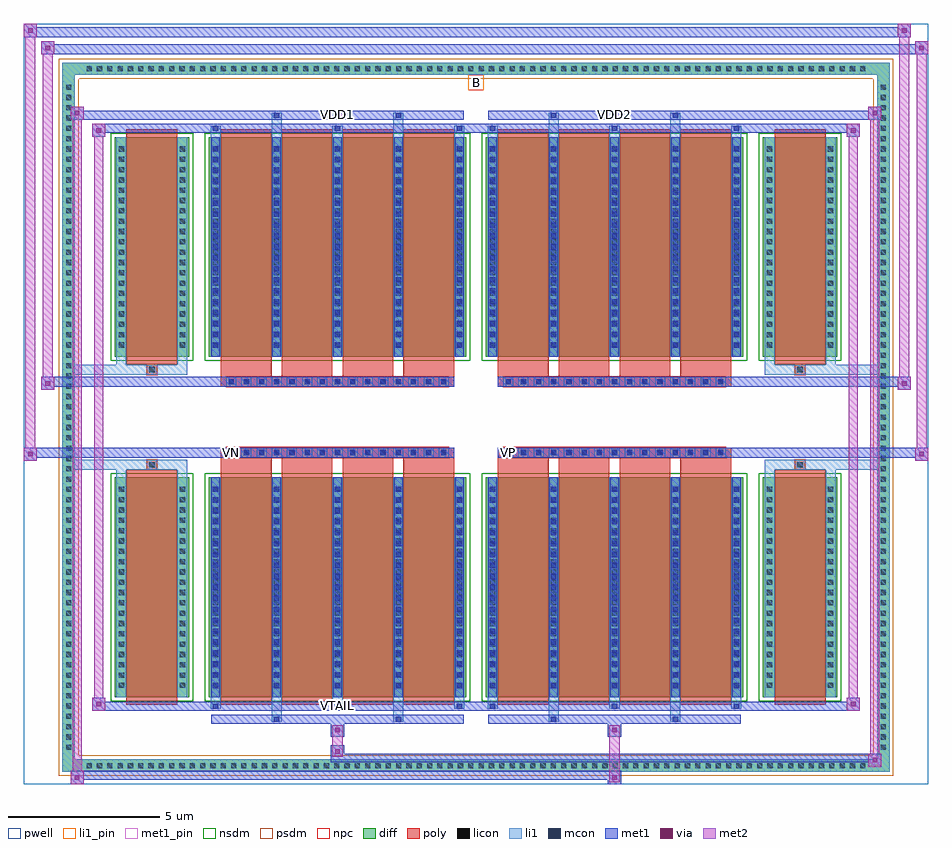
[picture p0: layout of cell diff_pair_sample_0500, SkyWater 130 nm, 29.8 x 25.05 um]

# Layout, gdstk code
import gdstk
lib = gdstk.Library(unit=1e-6, precision=5e-09)
def R(c, l, rs):  # rectangles x0, y0, x1, y1
    for r in rs: c.add(gdstk.rectangle(r[:2], r[2:], *l))
def A(c, l, x, y, w, h, nx, ny, dx, dy):  # array of equal rectangles
    R(c, l, [(x+i*dx, y+j*dy, x+i*dx+w, y+j*dy+h) for i in range(nx) for j in range(ny)])
def P(c, l, *ps):  # polygons
    for p in ps: c.add(gdstk.Polygon(p, *l))
pwell = (64, 44)
diff = (65, 20)
poly = (66, 20)
licon = (66, 44)
li1_pin = (67, 16)
li1 = (67, 20)
mcon = (67, 44)
met1_pin = (68, 16)
met1 = (68, 20)
via = (68, 44)
met2 = (69, 20)
nsdm = (93, 44)
psdm = (94, 20)
npc = (95, 20)

diff_pair_sample_0500 = lib.new_cell('diff_pair_sample_0500')
R(diff_pair_sample_0500, pwell, [(-14.9,-12.09,14.9,12.96), (-12.22,-10.28,-0.01,-0.8), (0.01,-10.28,12.22,-0.8), (-12.22,0.8,-0.01,10.28), (0.01,0.8,12.22,10.28)])
A(diff_pair_sample_0500, diff, -12.955, -11.69, 0.41, 0.41, 76, 2, 0.34, 22.97)
A(diff_pair_sample_0500, diff, -13.63, -11.085, 0.41, 0.41, 1, 65, 0, 0.34)
A(diff_pair_sample_0500, diff, 13.22, -11.085, 0.41, 0.41, 1, 65, 0, 0.34)
R(diff_pair_sample_0500, diff, [(-12.955,-11.69,12.955,-11.28), (-13.63,-11.085,-13.22,11.085), (13.22,-11.085,13.63,11.085), (-11.91,-9.235,-9.45,-1.985), (-8.81,-9.235,-0.32,-1.985), (0.32,-9.235,8.81,-1.985), (9.45,-9.235,11.91,-1.985), (-11.91,1.985,-9.45,9.235), (-8.81,1.985,-0.32,9.235), (0.32,1.985,8.81,9.235), (9.45,1.985,11.91,9.235), (-12.955,11.28,12.955,11.69)])
P(diff_pair_sample_0500, diff, [(13.63,11.69),(-13.63,11.69),(-13.63,-11.28),(-13.22,-11.28),(-13.22,11.28),(13.22,11.28),(13.22,-11.28),(-13.22,-11.28),(-13.63,-11.28),(-13.63,-11.69),(13.63,-11.69)])
A(diff_pair_sample_0500, poly, -8.42, -9.485, 1.68, 7.75, 4, 2, 2.01, 11.22)
A(diff_pair_sample_0500, poly, 0.71, -9.485, 1.68, 7.75, 4, 2, 2.01, 11.22)
A(diff_pair_sample_0500, poly, -8.42, -1.735, 1.68, 0.405, 4, 2, 2.01, 3.065)
A(diff_pair_sample_0500, poly, 0.71, -1.735, 1.68, 0.405, 4, 2, 2.01, 3.065)
A(diff_pair_sample_0500, poly, -8.23, -1.33, 0.33, 0.33, 15, 2, 0.5, 2.33)
A(diff_pair_sample_0500, poly, 0.9, -1.33, 0.33, 0.33, 15, 2, 0.5, 2.33)
R(diff_pair_sample_0500, poly, [(-11.52,-9.485,-9.84,-1.735), (9.84,-9.485,11.52,-1.735), (-10.845,-1.735,-10.515,-1.405), (-10.845,-1.735,-10.515,-1.405), (10.515,-1.735,10.845,-1.405), (10.515,-1.735,10.845,-1.405), (-8.42,-1.33,-0.71,-1), (0.71,-1.33,8.42,-1), (-8.42,1,-0.71,1.33), (0.71,1,8.42,1.33), (-10.845,1.405,-10.515,1.735), (-10.845,1.405,-10.515,1.735), (10.515,1.405,10.845,1.735), (10.515,1.405,10.845,1.735), (-11.52,1.735,-9.84,9.485), (9.84,1.735,11.52,9.485)])
A(diff_pair_sample_0500, licon, -12.835, -11.57, 0.17, 0.17, 76, 2, 0.34, 22.97)
A(diff_pair_sample_0500, licon, -13.51, -10.965, 0.17, 0.17, 1, 65, 0, 0.34)
A(diff_pair_sample_0500, licon, 13.34, -10.965, 0.17, 0.17, 1, 65, 0, 0.34)
A(diff_pair_sample_0500, licon, -11.77, -8.925, 0.17, 0.17, 1, 20, 0, 0.34)
A(diff_pair_sample_0500, licon, -9.76, -8.925, 0.17, 0.17, 1, 20, 0, 0.34)
A(diff_pair_sample_0500, licon, -8.67, -8.925, 0.17, 0.17, 5, 20, 2.01, 0.34)
A(diff_pair_sample_0500, licon, 0.46, -8.925, 0.17, 0.17, 5, 20, 2.01, 0.34)
A(diff_pair_sample_0500, licon, 9.59, -8.925, 0.17, 0.17, 1, 20, 0, 0.34)
A(diff_pair_sample_0500, licon, 11.6, -8.925, 0.17, 0.17, 1, 20, 0, 0.34)
A(diff_pair_sample_0500, licon, -8.15, -1.25, 0.17, 0.17, 15, 2, 0.5, 2.33)
A(diff_pair_sample_0500, licon, 0.98, -1.25, 0.17, 0.17, 15, 2, 0.5, 2.33)
A(diff_pair_sample_0500, licon, -11.77, 2.295, 0.17, 0.17, 1, 20, 0, 0.34)
A(diff_pair_sample_0500, licon, -9.76, 2.295, 0.17, 0.17, 1, 20, 0, 0.34)
A(diff_pair_sample_0500, licon, -8.67, 2.295, 0.17, 0.17, 5, 20, 2.01, 0.34)
A(diff_pair_sample_0500, licon, 0.46, 2.295, 0.17, 0.17, 5, 20, 2.01, 0.34)
A(diff_pair_sample_0500, licon, 9.59, 2.295, 0.17, 0.17, 1, 20, 0, 0.34)
A(diff_pair_sample_0500, licon, 11.6, 2.295, 0.17, 0.17, 1, 20, 0, 0.34)
R(diff_pair_sample_0500, licon, [(-10.765,-1.655,-10.595,-1.485), (10.595,-1.655,10.765,-1.485), (-10.765,1.485,-10.595,1.655), (10.595,1.485,10.765,1.655)])
R(diff_pair_sample_0500, li1_pin, [(-0.25,10.78,0.25,11.28)])
A(diff_pair_sample_0500, li1, -12.915, -11.65, 0.33, 0.33, 76, 2, 0.34, 22.97)
A(diff_pair_sample_0500, li1, -13.59, -11.045, 0.33, 0.33, 1, 65, 0, 0.34)
A(diff_pair_sample_0500, li1, 13.26, -11.045, 0.33, 0.33, 1, 65, 0, 0.34)
A(diff_pair_sample_0500, li1, -8.75, -9.61, 0.33, 0.375, 3, 2, 4.02, 18.845)
A(diff_pair_sample_0500, li1, -8.67, -9.61, 0.17, 0.17, 3, 2, 4.02, 19.05)
A(diff_pair_sample_0500, li1, 0.38, -9.61, 0.33, 0.375, 3, 2, 4.02, 18.845)
A(diff_pair_sample_0500, li1, 0.46, -9.61, 0.17, 0.17, 3, 2, 4.02, 19.05)
A(diff_pair_sample_0500, li1, -8.75, -9.235, 0.33, 7.25, 5, 2, 2.01, 11.22)
A(diff_pair_sample_0500, li1, 0.38, -9.235, 0.33, 7.25, 5, 2, 2.01, 11.22)
A(diff_pair_sample_0500, li1, -11.85, -9.005, 0.33, 0.33, 1, 20, 0, 0.34)
A(diff_pair_sample_0500, li1, -9.84, -9.005, 0.33, 0.33, 1, 20, 0, 0.34)
A(diff_pair_sample_0500, li1, -8.75, -9.005, 0.33, 0.33, 5, 20, 2.01, 0.34)
A(diff_pair_sample_0500, li1, 0.38, -9.005, 0.33, 0.33, 5, 20, 2.01, 0.34)
A(diff_pair_sample_0500, li1, 9.51, -9.005, 0.33, 0.33, 1, 20, 0, 0.34)
A(diff_pair_sample_0500, li1, 11.52, -9.005, 0.33, 0.33, 1, 20, 0, 0.34)
A(diff_pair_sample_0500, li1, -8.67, -8.935, 0.17, 0.17, 5, 19, 2.01, 0.36)
A(diff_pair_sample_0500, li1, -8.67, -8.935, 0.17, 6.65, 5, 2, 2.01, 11.22)
A(diff_pair_sample_0500, li1, 0.46, -8.935, 0.17, 0.17, 5, 19, 2.01, 0.36)
A(diff_pair_sample_0500, li1, 0.46, -8.935, 0.17, 6.65, 5, 2, 2.01, 11.22)
A(diff_pair_sample_0500, li1, -8.23, -1.33, 0.33, 0.33, 15, 2, 0.5, 2.33)
A(diff_pair_sample_0500, li1, 0.9, -1.33, 0.33, 0.33, 15, 2, 0.5, 2.33)
A(diff_pair_sample_0500, li1, -11.85, 2.215, 0.33, 0.33, 1, 20, 0, 0.34)
A(diff_pair_sample_0500, li1, -9.84, 2.215, 0.33, 0.33, 1, 20, 0, 0.34)
A(diff_pair_sample_0500, li1, -8.75, 2.215, 0.33, 0.33, 5, 20, 2.01, 0.34)
A(diff_pair_sample_0500, li1, 0.38, 2.215, 0.33, 0.33, 5, 20, 2.01, 0.34)
A(diff_pair_sample_0500, li1, 9.51, 2.215, 0.33, 0.33, 1, 20, 0, 0.34)
A(diff_pair_sample_0500, li1, 11.52, 2.215, 0.33, 0.33, 1, 20, 0, 0.34)
A(diff_pair_sample_0500, li1, -8.67, 2.285, 0.17, 0.17, 5, 19, 2.01, 0.36)
A(diff_pair_sample_0500, li1, 0.46, 2.285, 0.17, 0.17, 5, 19, 2.01, 0.36)
R(diff_pair_sample_0500, li1, [(-13.63,-11.69,-13.22,-11.28), (-13.63,-11.69,-13.22,-11.28), (-13.22,-11.69,13.22,-11.28), (13.22,-11.69,13.63,-11.28), (13.22,-11.69,13.63,-11.28), (-13.63,-11.28,-13.22,11.28), (13.22,-11.28,13.63,11.28), (-6.74,-10.04,-6.41,-9.235), (-6.66,-10.04,-6.49,-9.87), (-2.72,-10.04,-2.39,-9.235), (-2.64,-10.04,-2.47,-9.87), (2.39,-10.04,2.72,-9.235), (2.47,-10.04,2.64,-9.87), (6.41,-10.04,6.74,-9.235), (6.49,-10.04,6.66,-9.87), (-11.85,-9.235,-11.52,-1.985), (-9.84,-9.235,-9.51,-1.985), (9.51,-9.235,9.84,-1.985), (11.52,-9.235,11.85,-1.985), (-11.85,-1.985,-11.52,-1.405), (-9.84,-1.985,-9.51,-1.405), (9.51,-1.985,9.84,-1.405), (11.52,-1.985,11.85,-1.405), (-13.63,-1.735,-10.845,-1.405), (-11.85,-1.735,-10.845,-1.405), (-10.845,-1.735,-10.515,-1.405), (-10.515,-1.735,-9.51,-1.405), (9.51,-1.735,10.515,-1.405), (10.515,-1.735,10.845,-1.405), (10.515,-1.735,13.63,-1.405), (10.845,-1.735,11.85,-1.405), (-13.63,1.405,-10.845,1.735), (-11.85,1.405,-10.845,1.735), (-11.85,1.405,-11.52,1.985), (-10.845,1.405,-10.515,1.735), (-10.515,1.405,-9.51,1.735), (-9.84,1.405,-9.51,1.985), (9.51,1.405,10.515,1.735), (9.51,1.405,9.84,1.985), (10.515,1.405,10.845,1.735), (10.515,1.405,13.63,1.735), (10.845,1.405,11.85,1.735), (11.52,1.405,11.85,1.985), (-11.85,1.985,-11.52,9.235), (-9.84,1.985,-9.51,9.235), (9.51,1.985,9.84,9.235), (11.52,1.985,11.85,9.235), (-6.74,9.235,-6.41,10.04), (-2.72,9.235,-2.39,10.04), (2.39,9.235,2.72,10.04), (6.41,9.235,6.74,10.04), (-6.66,9.87,-6.49,10.04), (-2.64,9.87,-2.47,10.04), (2.47,9.87,2.64,10.04), (6.49,9.87,6.66,10.04), (-13.63,11.28,-13.22,11.69), (-13.63,11.28,-13.22,11.69), (-13.22,11.28,13.22,11.69), (13.22,11.28,13.63,11.69), (13.22,11.28,13.63,11.69)])
A(diff_pair_sample_0500, mcon, -8.67, -9.61, 0.17, 0.17, 3, 2, 4.02, 19.05)
A(diff_pair_sample_0500, mcon, 0.46, -9.61, 0.17, 0.17, 3, 2, 4.02, 19.05)
A(diff_pair_sample_0500, mcon, -8.67, -8.935, 0.17, 0.17, 5, 19, 2.01, 0.36)
A(diff_pair_sample_0500, mcon, 0.46, -8.935, 0.17, 0.17, 5, 19, 2.01, 0.36)
A(diff_pair_sample_0500, mcon, -8.15, -1.25, 0.17, 0.17, 15, 2, 0.5, 2.33)
A(diff_pair_sample_0500, mcon, 0.98, -1.25, 0.17, 0.17, 15, 2, 0.5, 2.33)
A(diff_pair_sample_0500, mcon, -8.67, 2.285, 0.17, 0.17, 5, 19, 2.01, 0.36)
A(diff_pair_sample_0500, mcon, 0.46, 2.285, 0.17, 0.17, 5, 19, 2.01, 0.36)
R(diff_pair_sample_0500, mcon, [(-6.66,-10.04,-6.49,-9.87), (-2.64,-10.04,-2.47,-9.87), (2.47,-10.04,2.64,-9.87), (6.49,-10.04,6.66,-9.87), (-6.66,9.87,-6.49,10.04), (-2.64,9.87,-2.47,10.04), (2.47,9.87,2.64,10.04), (6.49,9.87,6.66,10.04)])
R(diff_pair_sample_0500, met1_pin, [(-4.7,-9.65,-4.43,-9.38), (-8.2,-1.29,-7.93,-1.02), (0.93,-1.29,1.2,-1.02), (-4.7,9.83,-4.43,10.1), (4.43,9.83,4.7,10.1)])
A(diff_pair_sample_0500, met1, -8.73, -9.67, 0.29, 0.29, 3, 2, 4.02, 19.05)
A(diff_pair_sample_0500, met1, 0.4, -9.67, 0.29, 0.29, 3, 2, 4.02, 19.05)
A(diff_pair_sample_0500, met1, -8.73, -9.235, 0.29, 7.25, 5, 2, 2.01, 11.22)
A(diff_pair_sample_0500, met1, 0.4, -9.235, 0.29, 7.25, 5, 2, 2.01, 11.22)
A(diff_pair_sample_0500, met1, -8.73, -8.995, 0.29, 0.29, 5, 19, 2.01, 0.36)
A(diff_pair_sample_0500, met1, 0.4, -8.995, 0.29, 0.29, 5, 19, 2.01, 0.36)
A(diff_pair_sample_0500, met1, -8.21, -1.31, 0.29, 0.29, 15, 2, 0.5, 2.33)
A(diff_pair_sample_0500, met1, 0.92, -1.31, 0.29, 0.29, 15, 2, 0.5, 2.33)
A(diff_pair_sample_0500, met1, -8.73, 2.225, 0.29, 0.29, 5, 19, 2.01, 0.36)
A(diff_pair_sample_0500, met1, 0.4, 2.225, 0.29, 0.29, 5, 19, 2.01, 0.36)
R(diff_pair_sample_0500, met1, [(-13.36,-12.09,-12.93,-11.66), (4.35,-12.09,4.78,-11.66), (-13.36,-11.95,4.78,-11.66), (12.93,-11.52,13.36,-11.09), (-4.78,-11.38,13.36,-11.09), (-4.78,-11.24,-4.35,-10.81), (-4.78,-10.53,-4.35,-10.1), (4.35,-10.53,4.78,-10.1), (-8.73,-10.1,-0.4,-9.81), (-6.72,-10.1,-6.43,-9.81), (-2.7,-10.1,-2.41,-9.81), (0.4,-10.1,8.73,-9.81), (2.41,-10.1,2.7,-9.81), (6.43,-10.1,6.72,-9.81), (-12.65,-9.67,-12.22,-9.24), (-12.65,-9.67,-8.73,-9.38), (-8.73,-9.67,-0.4,-9.38), (-0.4,-9.67,0.4,-9.38), (0.4,-9.67,8.73,-9.38), (8.73,-9.67,12.65,-9.38), (12.22,-9.67,12.65,-9.24), (-14.9,-1.43,-14.47,-1), (14.47,-1.43,14.9,-1), (-14.9,-1.33,-0.71,-1), (-8.42,-1.33,-0.71,-1), (0.71,-1.33,8.42,-1), (0.71,-1.33,14.9,-1), (-14.33,0.9,-13.9,1.33), (13.9,0.9,14.33,1.33), (-14.33,1,-8.42,1.33), (-8.42,1,-0.71,1.33), (0.71,1,8.42,1.33), (8.42,1,14.33,1.33), (-12.65,9.24,-12.22,9.67), (12.22,9.24,12.65,9.67), (-12.65,9.38,-8.73,9.67), (-8.73,9.38,-0.4,9.67), (-0.4,9.38,0.4,9.67), (0.4,9.38,8.73,9.67), (8.73,9.38,12.65,9.67), (-13.36,9.81,-12.93,10.24), (-13.36,9.81,-8.73,10.1), (-8.73,9.81,-0.4,10.1), (-6.72,9.81,-6.43,10.1), (-2.7,9.81,-2.41,10.1), (0.4,9.81,8.73,10.1), (2.41,9.81,2.7,10.1), (6.43,9.81,6.72,10.1), (8.73,9.81,13.36,10.1), (12.93,9.81,13.36,10.24), (-14.33,11.96,-13.9,12.39), (-14.33,11.96,-12.22,12.29), (-12.22,11.96,12.22,12.29), (12.22,11.96,14.9,12.29), (14.47,11.96,14.9,12.39), (-14.9,12.53,-14.47,12.96), (-14.9,12.53,-12.22,12.86), (-12.22,12.53,12.22,12.86), (12.22,12.53,14.33,12.86), (13.9,12.53,14.33,12.96)])
R(diff_pair_sample_0500, via, [(-13.22,-11.95,-13.07,-11.8), (4.49,-11.95,4.64,-11.8), (13.07,-11.38,13.22,-11.23), (-4.64,-11.1,-4.49,-10.95), (-4.64,-10.39,-4.49,-10.24), (4.49,-10.39,4.64,-10.24), (-12.51,-9.53,-12.36,-9.38), (12.36,-9.53,12.51,-9.38), (-14.76,-1.29,-14.61,-1.14), (14.61,-1.29,14.76,-1.14), (-14.19,1.04,-14.04,1.19), (14.04,1.04,14.19,1.19), (-12.51,9.38,-12.36,9.53), (12.36,9.38,12.51,9.53), (-13.22,9.95,-13.07,10.1), (13.07,9.95,13.22,10.1), (-14.19,12.1,-14.04,12.25), (14.61,12.1,14.76,12.25), (-14.76,12.67,-14.61,12.82), (14.04,12.67,14.19,12.82)])
R(diff_pair_sample_0500, met2, [(-13.36,-12.09,-12.93,-11.66), (-13.29,-12.09,-13,10.24), (-13,-12.09,-12.93,-11.66), (-13.31,-12.04,-12.98,-11.71), (4.4,-12.04,4.73,-11.71), (4.4,-11.71,4.73,-10.48), (12.93,-11.52,13.36,-11.09), (13,-11.52,13.29,10.24), (13.29,-11.52,13.36,-11.09), (12.98,-11.47,13.31,-11.14), (-4.73,-11.19,-4.4,-10.86), (-4.73,-10.86,-4.4,-10.48), (-4.73,-10.48,-4.4,-10.15), (4.4,-10.48,4.73,-10.15), (-12.65,-9.67,-12.22,-9.24), (-12.58,-9.67,-12.29,9.67), (-12.29,-9.67,-12.22,-9.24), (12.22,-9.67,12.65,-9.24), (12.29,-9.67,12.58,9.67), (12.58,-9.67,12.65,-9.24), (-12.6,-9.62,-12.27,-9.29), (12.27,-9.62,12.6,-9.29), (-14.9,-1.43,-14.47,-1), (-14.85,-1.43,-14.52,12.96), (-14.52,-1.43,-14.47,-1), (14.47,-1.43,14.9,-1), (14.52,-1.43,14.85,12.39), (14.85,-1.43,14.9,-1), (-14.85,-1.38,-14.52,-1.05), (14.52,-1.38,14.85,-1.05), (-14.33,0.9,-13.9,1.33), (-14.28,0.9,-13.95,12.39), (-13.95,0.9,-13.9,1.33), (13.9,0.9,14.33,1.33), (13.95,0.9,14.28,12.96), (14.28,0.9,14.33,1.33), (-14.28,0.95,-13.95,1.28), (13.95,0.95,14.28,1.28), (-12.65,9.24,-12.22,9.67), (-12.29,9.24,-12.22,9.67), (12.22,9.24,12.65,9.67), (12.58,9.24,12.65,9.67), (-12.6,9.29,-12.27,9.62), (12.27,9.29,12.6,9.62), (-13.36,9.81,-12.93,10.24), (-13,9.81,-12.93,10.24), (12.93,9.81,13.36,10.24), (13.29,9.81,13.36,10.24), (-13.31,9.86,-12.98,10.19), (12.98,9.86,13.31,10.19), (-14.33,11.96,-13.9,12.39), (-13.95,11.96,-13.9,12.39), (14.47,11.96,14.9,12.39), (14.85,11.96,14.9,12.39), (-14.28,12.01,-13.95,12.34), (14.52,12.01,14.85,12.34), (-14.9,12.53,-14.47,12.96), (-14.52,12.53,-14.47,12.96), (13.9,12.53,14.33,12.96), (14.28,12.53,14.33,12.96), (-14.85,12.58,-14.52,12.91), (13.95,12.58,14.28,12.91)])
R(diff_pair_sample_0500, nsdm, [(-12.04,-9.365,-9.32,-1.855), (-8.94,-9.365,-0.19,-1.855), (0.19,-9.365,8.94,-1.855), (9.32,-9.365,12.04,-1.855), (-12.04,1.855,-9.32,9.365), (-8.94,1.855,-0.19,9.365), (0.19,1.855,8.94,9.365), (9.32,1.855,12.04,9.365)])
P(diff_pair_sample_0500, psdm, [(13.76,11.82),(-13.76,11.82),(-13.76,-11.15),(-13.09,-11.15),(-13.09,11.15),(13.09,11.15),(13.09,-11.15),(-13.09,-11.15),(-13.76,-11.15),(-13.76,-11.82),(13.76,-11.82)])
A(diff_pair_sample_0500, npc, -8.25, -1.35, 0.37, 0.37, 15, 2, 0.5, 2.33)
A(diff_pair_sample_0500, npc, 0.88, -1.35, 0.37, 0.37, 15, 2, 0.5, 2.33)
R(diff_pair_sample_0500, npc, [(-10.865,-1.755,-10.495,-1.385), (10.495,-1.755,10.865,-1.385), (-8.25,-1.35,-7.38,-0.98), (-8.25,-1.35,-7.38,-0.98), (-7.75,-1.35,-6.88,-0.98), (-7.75,-1.35,-6.88,-0.98), (-7.25,-1.35,-6.38,-0.98), (-7.25,-1.35,-6.38,-0.98), (-6.75,-1.35,-5.88,-0.98), (-6.75,-1.35,-5.88,-0.98), (-6.25,-1.35,-5.38,-0.98), (-6.25,-1.35,-5.38,-0.98), (-5.75,-1.35,-4.88,-0.98), (-5.75,-1.35,-4.88,-0.98), (-5.25,-1.35,-4.38,-0.98), (-5.25,-1.35,-4.38,-0.98), (-4.75,-1.35,-3.88,-0.98), (-4.75,-1.35,-3.88,-0.98), (-4.25,-1.35,-3.38,-0.98), (-4.25,-1.35,-3.38,-0.98), (-3.75,-1.35,-2.88,-0.98), (-3.75,-1.35,-2.88,-0.98), (-3.25,-1.35,-2.38,-0.98), (-3.25,-1.35,-2.38,-0.98), (-2.75,-1.35,-1.88,-0.98), (-2.75,-1.35,-1.88,-0.98), (-2.25,-1.35,-1.38,-0.98), (-2.25,-1.35,-1.38,-0.98), (-1.75,-1.35,-0.88,-0.98), (-1.75,-1.35,-0.88,-0.98), (0.88,-1.35,1.75,-0.98), (0.88,-1.35,1.75,-0.98), (1.38,-1.35,2.25,-0.98), (1.38,-1.35,2.25,-0.98), (1.88,-1.35,2.75,-0.98), (1.88,-1.35,2.75,-0.98), (2.38,-1.35,3.25,-0.98), (2.38,-1.35,3.25,-0.98), (2.88,-1.35,3.75,-0.98), (2.88,-1.35,3.75,-0.98), (3.38,-1.35,4.25,-0.98), (3.38,-1.35,4.25,-0.98), (3.88,-1.35,4.75,-0.98), (3.88,-1.35,4.75,-0.98), (4.38,-1.35,5.25,-0.98), (4.38,-1.35,5.25,-0.98), (4.88,-1.35,5.75,-0.98), (4.88,-1.35,5.75,-0.98), (5.38,-1.35,6.25,-0.98), (5.38,-1.35,6.25,-0.98), (5.88,-1.35,6.75,-0.98), (5.88,-1.35,6.75,-0.98), (6.38,-1.35,7.25,-0.98), (6.38,-1.35,7.25,-0.98), (6.88,-1.35,7.75,-0.98), (6.88,-1.35,7.75,-0.98), (7.38,-1.35,8.25,-0.98), (7.38,-1.35,8.25,-0.98), (-8.25,0.98,-7.38,1.35), (-8.25,0.98,-7.38,1.35), (-7.75,0.98,-6.88,1.35), (-7.75,0.98,-6.88,1.35), (-7.25,0.98,-6.38,1.35), (-7.25,0.98,-6.38,1.35), (-6.75,0.98,-5.88,1.35), (-6.75,0.98,-5.88,1.35), (-6.25,0.98,-5.38,1.35), (-6.25,0.98,-5.38,1.35), (-5.75,0.98,-4.88,1.35), (-5.75,0.98,-4.88,1.35), (-5.25,0.98,-4.38,1.35), (-5.25,0.98,-4.38,1.35), (-4.75,0.98,-3.88,1.35), (-4.75,0.98,-3.88,1.35), (-4.25,0.98,-3.38,1.35), (-4.25,0.98,-3.38,1.35), (-3.75,0.98,-2.88,1.35), (-3.75,0.98,-2.88,1.35), (-3.25,0.98,-2.38,1.35), (-3.25,0.98,-2.38,1.35), (-2.75,0.98,-1.88,1.35), (-2.75,0.98,-1.88,1.35), (-2.25,0.98,-1.38,1.35), (-2.25,0.98,-1.38,1.35), (-1.75,0.98,-0.88,1.35), (-1.75,0.98,-0.88,1.35), (0.88,0.98,1.75,1.35), (0.88,0.98,1.75,1.35), (1.38,0.98,2.25,1.35), (1.38,0.98,2.25,1.35), (1.88,0.98,2.75,1.35), (1.88,0.98,2.75,1.35), (2.38,0.98,3.25,1.35), (2.38,0.98,3.25,1.35), (2.88,0.98,3.75,1.35), (2.88,0.98,3.75,1.35), (3.38,0.98,4.25,1.35), (3.38,0.98,4.25,1.35), (3.88,0.98,4.75,1.35), (3.88,0.98,4.75,1.35), (4.38,0.98,5.25,1.35), (4.38,0.98,5.25,1.35), (4.88,0.98,5.75,1.35), (4.88,0.98,5.75,1.35), (5.38,0.98,6.25,1.35), (5.38,0.98,6.25,1.35), (5.88,0.98,6.75,1.35), (5.88,0.98,6.75,1.35), (6.38,0.98,7.25,1.35), (6.38,0.98,7.25,1.35), (6.88,0.98,7.75,1.35), (6.88,0.98,7.75,1.35), (7.38,0.98,8.25,1.35), (7.38,0.98,8.25,1.35), (-10.865,1.385,-10.495,1.755), (10.495,1.385,10.865,1.755)])
diff_pair_sample_0500.add(gdstk.Label('VTAIL', (-4.565,-9.515), layer=68, texttype=5))
diff_pair_sample_0500.add(gdstk.Label('VN', (-8.065,-1.155), layer=68, texttype=5))
diff_pair_sample_0500.add(gdstk.Label('VP', (1.065,-1.155), layer=68, texttype=5))
diff_pair_sample_0500.add(gdstk.Label('B', (0,11.03), layer=67, texttype=5))
diff_pair_sample_0500.add(gdstk.Label('VDD2', (4.565,9.965), layer=68, texttype=5))
diff_pair_sample_0500.add(gdstk.Label('VDD1', (-4.565,9.965), layer=68, texttype=5))

lib.write_gds('diff_pair_sample_0500.gds')
